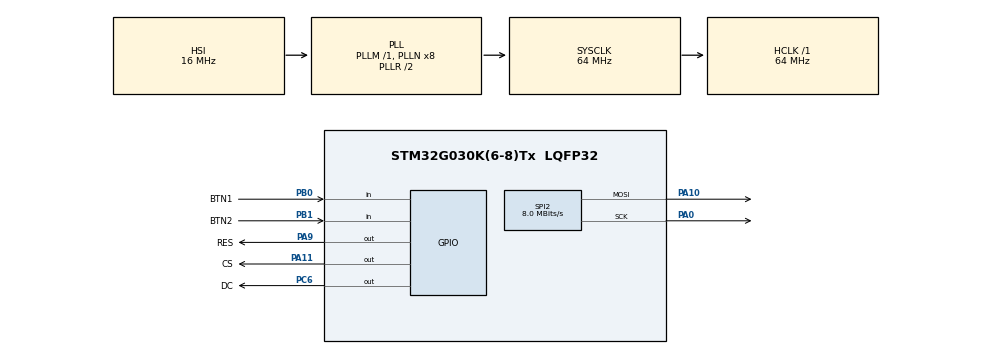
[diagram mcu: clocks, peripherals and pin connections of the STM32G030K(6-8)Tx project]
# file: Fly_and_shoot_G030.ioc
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Dma.Request0=SPI2_TX
Dma.SPI2_TX.0.Direction=DMA_MEMORY_TO_PERIPH
Dma.SPI2_TX.0.EventEnable=DISABLE
Dma.SPI2_TX.0.Instance=DMA1_Channel1
Dma.SPI2_TX.0.MemDataAlignment=DMA_MDATAALIGN_BYTE
Dma.SPI2_TX.0.MemInc=DMA_MINC_ENABLE
Dma.SPI2_TX.0.Mode=DMA_NORMAL
Dma.SPI2_TX.0.PeriphDataAlignment=DMA_PDATAALIGN_BYTE
Dma.SPI2_TX.0.PeriphInc=DMA_PINC_DISABLE
Dma.SPI2_TX.0.Polarity=HAL_DMAMUX_REQ_GEN_RISING
Dma.SPI2_TX.0.Priority=DMA_PRIORITY_LOW
Dma.SPI2_TX.0.RequestNumber=1
Dma.SPI2_TX.0.SignalID=NONE
Dma.SPI2_TX.0.SyncEnable=DISABLE
Dma.SPI2_TX.0.SyncPolarity=HAL_DMAMUX_SYNC_NO_EVENT
Dma.SPI2_TX.0.SyncRequestNumber=1
Dma.SPI2_TX.0.SyncSignalID=NONE
Mcu.Family=STM32G0
Mcu.Name=STM32G030K(6-8)Tx
Mcu.Package=LQFP32
NVIC.DMA1_Channel1_IRQn=true\:0\:0\:false\:false\:true\:false\:true\:true
NVIC.TIM3_IRQn=true\:0\:0\:false\:false\:true\:true\:true\:true
PA0.Mode=TX_Only_Simplex_Unidirect_Master
PA0.Signal=SPI2_SCK
PA10.Mode=TX_Only_Simplex_Unidirect_Master
PA10.Signal=SPI2_MOSI
PA11\ [PA9].GPIO_Label=CS
PA11\ [PA9].Signal=GPIO_Output
PA13.Mode=Serial_Wire
PA13.Signal=SYS_SWDIO
PA14-BOOT0.Mode=Serial_Wire
PA14-BOOT0.Signal=SYS_SWCLK
PA9.GPIO_Label=RES
PA9.Signal=GPIO_Output
PB0.GPIO_Label=BTN1
PB0.Signal=GPIO_Input
PB1.GPIO_Label=BTN2
PB1.Signal=GPIO_Input
PC6.GPIO_Label=DC
PC6.Signal=GPIO_Output
ProjectManager.HeapSize=0x200
ProjectManager.StackSize=0x400
ProjectManager.TargetToolchain=MDK-ARM V5.32
RCC.ADCFreq_Value=64000000
RCC.AHBFreq_Value=64000000
RCC.CortexFreq_Value=64000000
RCC.EXTERNAL_CLOCK_VALUE=12288000
RCC.HCLKFreq_Value=64000000
RCC.HSE_VALUE=8000000
RCC.HSI_VALUE=16000000
RCC.LSE_VALUE=32768
RCC.SYSCLKFreq_VALUE=64000000
RCC.SYSCLKSource=RCC_SYSCLKSOURCE_PLLCLK
RCC.VCOOutputFreq_Value=128000000
SPI2.BaudRatePrescaler=SPI_BAUDRATEPRESCALER_8
SPI2.CalculateBaudRate=8.0 MBits/s
SPI2.Direction=SPI_DIRECTION_2LINES
SPI2.Mode=SPI_MODE_MASTER
SPI2.VirtualType=VM_MASTER
TIM3.Period=33-1
TIM3.Prescaler=64000-1
VP_TIM3_VS_ClockSourceINT.Mode=Internal
board=custom

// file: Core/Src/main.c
/* USER CODE BEGIN Header */
/**
        ******************************************************************************
        * @file           : main.c
        * @brief          : Main program body
        ******************************************************************************
        * @attention
        *
        * <h2><center>&copy; Copyright (c) 2022 STMicroelectronics.
        * All rights reserved.</center></h2>
        *
        * This software component is licensed by ST under BSD 3-Clause license,
        * the "License"; You may not use this file except in compliance with the
        * License. You may obtain a copy of the License at:
        *                        opensource.org/licenses/BSD-3-Clause
        *
        ******************************************************************************
        */
/* USER CODE END Header */
#include "main.h"
#include "dma.h"
#include "spi.h"
#include "tim.h"
#include "gpio.h"

/* USER CODE BEGIN Includes */
#include "oled.h"
#include "string.h"
#include "stdio.h"
#include "qpc.h"
#include "bsp.h"
#include "game.h"
/* USER CODE END Includes */

void SystemClock_Config(void);

/* USER CODE BEGIN 0 */
Q_DEFINE_THIS_FILE

static QTicker l_ticker0; /* ticker active object for tick rate 0 */
QActive *the_Ticker0 = &l_ticker0.super;
/* USER CODE END 0 */

int main(void)
{
    /* USER CODE BEGIN 1 */
    QF_init();  /* initialize the framework and the underlying RT kernel */
    /* USER CODE END 1 */

    /* MCU Configuration--------------------------------------------------------*/

    /* Reset of all peripherals, Initializes the Flash interface and the Systick. */
    HAL_Init();

    /* Configure the system clock */
    SystemClock_Config();

    /* Initialize all configured peripherals */
    MX_GPIO_Init();
    MX_DMA_Init();
    MX_SPI2_Init();
    MX_TIM3_Init();
    /* USER CODE BEGIN 2 */

	OLED_Init();

    static QEvt const * missileQueueSto[2];
    static QEvt const * shipQueueSto[3];
    static QEvt const * tunnelQueueSto[GAME_MINES_MAX + 5];

    static QF_MPOOL_EL(QEvt)           smlPoolSto[10];
    static QF_MPOOL_EL(ObjectImageEvt) medPoolSto[2*GAME_MINES_MAX + 10];

    static QSubscrList    subscrSto[MAX_PUB_SIG];

    //QF_init();  /* initialize the framework and the underlying RT kernel */
    BSP_init(); /* initialize the Board Support Package */

	/* init publish-subscribe... */
	QF_psInit(subscrSto, Q_DIM(subscrSto));

	/* initialize the event pools... */
	QF_poolInit(smlPoolSto, sizeof(smlPoolSto), sizeof(smlPoolSto[0]));
	QF_poolInit(medPoolSto, sizeof(medPoolSto), sizeof(medPoolSto[0]));

    /* object dictionaries for AOs... */
    QS_OBJ_DICTIONARY(AO_Missile);
    QS_OBJ_DICTIONARY(AO_Ship);
    QS_OBJ_DICTIONARY(AO_Tunnel);

    /* signal dictionaries for globally published events... */
    QS_SIG_DICTIONARY(TIME_TICK_SIG,      (void *)0);
    QS_SIG_DICTIONARY(PLAYER_TRIGGER_SIG, (void *)0);
    QS_SIG_DICTIONARY(PLAYER_QUIT_SIG,    (void *)0);
    QS_SIG_DICTIONARY(GAME_OVER_SIG,      (void *)0);

    /* start the active objects... */
    QTicker_ctor(&l_ticker0, 0U); /* active object for tick rate 0 */
    QACTIVE_START(the_Ticker0,
                                1U,                /* QP priority */
                                0, 0, 0, 0, 0);    /* no queue, no stack , no init. event */
    Tunnel_ctor_call();
    QACTIVE_START(AO_Tunnel,
                                2U,                /* QP priority */
                                tunnelQueueSto,  Q_DIM(tunnelQueueSto), /* evt queue */
                                (void *)0, 0U,     /* no per-thread stack */
                                (QEvt *)0);        /* no initialization event */
    Ship_ctor_call();
    QACTIVE_START(AO_Ship,
                                3U,                /* QP priority */
                                shipQueueSto,    Q_DIM(shipQueueSto), /* evt queue */
                                (void *)0, 0U,     /* no per-thread stack */
                                (QEvt *)0);        /* no initialization event */
    Missile_ctor_call();
    QACTIVE_START(AO_Missile,
                                4U,                /* QP priority */
                                missileQueueSto, Q_DIM(missileQueueSto), /* evt queue */
                                (void *)0, 0U,     /* no per-thread stack */
                                (QEvt *)0);        /* no initialization event */

    return QF_run(); /* run the QF application */
    /* USER CODE END 2 */

    /* Infinite loop */
        while (1)
        {

        }
}

void SystemClock_Config(void)
{
    RCC_OscInitTypeDef RCC_OscInitStruct = {0};
    RCC_ClkInitTypeDef RCC_ClkInitStruct = {0};

    /** Configure the main internal regulator output voltage
    */
    HAL_PWREx_ControlVoltageScaling(PWR_REGULATOR_VOLTAGE_SCALE1);

    /** Initializes the RCC Oscillators according to the specified parameters
    * in the RCC_OscInitTypeDef structure.
    */
    RCC_OscInitStruct.OscillatorType = RCC_OSCILLATORTYPE_HSI;
    RCC_OscInitStruct.HSIState = RCC_HSI_ON;
    RCC_OscInitStruct.HSIDiv = RCC_HSI_DIV1;
    RCC_OscInitStruct.HSICalibrationValue = RCC_HSICALIBRATION_DEFAULT;
    RCC_OscInitStruct.PLL.PLLState = RCC_PLL_ON;
    RCC_OscInitStruct.PLL.PLLSource = RCC_PLLSOURCE_HSI;
    RCC_OscInitStruct.PLL.PLLM = RCC_PLLM_DIV1;
    RCC_OscInitStruct.PLL.PLLN = 8;
    RCC_OscInitStruct.PLL.PLLP = RCC_PLLP_DIV2;
    RCC_OscInitStruct.PLL.PLLR = RCC_PLLR_DIV2;
    if (HAL_RCC_OscConfig(&RCC_OscInitStruct) != HAL_OK)
    {
        Error_Handler();
    }

    /** Initializes the CPU, AHB and APB buses clocks
    */
    RCC_ClkInitStruct.ClockType = RCC_CLOCKTYPE_HCLK|RCC_CLOCKTYPE_SYSCLK
                                                            |RCC_CLOCKTYPE_PCLK1;
    RCC_ClkInitStruct.SYSCLKSource = RCC_SYSCLKSOURCE_PLLCLK;
    RCC_ClkInitStruct.AHBCLKDivider = RCC_SYSCLK_DIV1;
    RCC_ClkInitStruct.APB1CLKDivider = RCC_HCLK_DIV1;

    if (HAL_RCC_ClockConfig(&RCC_ClkInitStruct, FLASH_LATENCY_2) != HAL_OK)
    {
        Error_Handler();
    }
}

void Error_Handler(void)
{
        __disable_irq();
        while (1)
        {
        }
}
